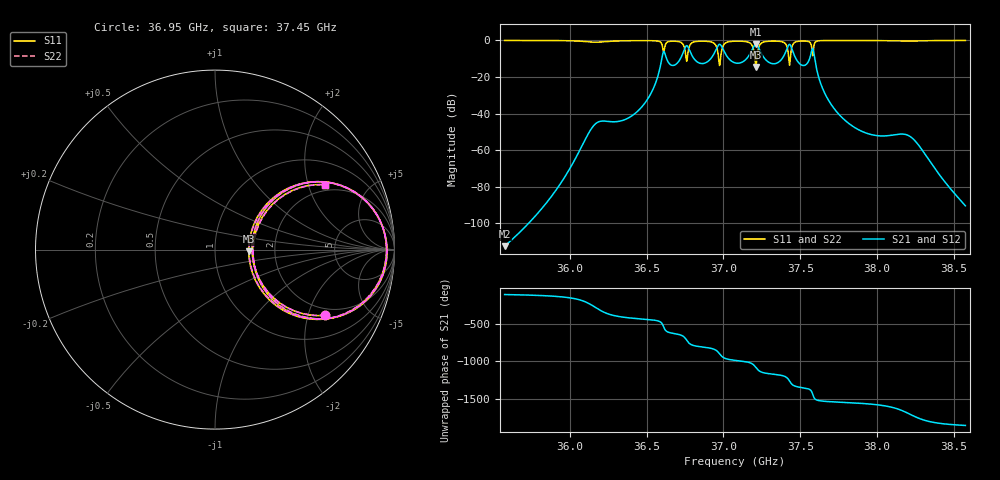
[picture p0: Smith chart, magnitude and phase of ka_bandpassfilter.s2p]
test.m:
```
% compare_s21_groupdelay_vs_lfm.m
% 读取 .s2p (MA 格式)，计算 S21 群时延
% 用简化 LFMCW 仿真（IF 级别）提取时延点并与群时延作图比较
% 适配你的 LM_MCMC.m 参数（f_start, f_end, T）

clear; close all; clc;

%% ========== 1. 参数（与 LM_MCMC.m 对齐） ==========
s2p_filename = 'ka_bandpassfilter.s2p'; % 假设当前目录有这份文件（根据你示例）
% LFMCW 参数（来自 LM_MCMC.m 片段）
f_start = 34.2e9;        % Hz
f_end   = 37.4e9;        % Hz
T_chirp = 50e-6;         % s (单次上行/下行扫频时长)
B = f_end - f_start;     % 带宽
K = B / T_chirp;         % 斜率 (Hz/s)

%% ========== 2. 读取 .s2p（MA 格式）并解析 S21 ==========
if ~exist(s2p_filename,'file')
    error('找不到 %s。请把你的 .s2p 放到当前目录或修改脚本中的文件名。', s2p_filename);
end

% 打开并解析
fid = fopen(s2p_filename,'r');
freq_GHz = [];
s21_mag = [];
s21_ang_deg = [];

while ~feof(fid)
    line = strtrim(fgetl(fid));
    if isempty(line)
        continue;
    end
    if startsWith(line,'!') || startsWith(line,'! ')
        % 注释行跳过
        continue;
    end
    if startsWith(line,'#')
        % header, 可解析单位、格式（本脚本假设 # GHz S MA ...）
        header = line;
        continue;
    end
    % 数据行：按你给的示例，每行 9 列（freq, S11_mag, S11_ang, S21_mag, S21_ang, S12_mag, S12_ang, S22_mag, S22_ang）
    cols = textscan(line, '%f');
    vals = cols{1};
    if numel(vals) >= 9
        freq_GHz(end+1,1) = vals(1);
        s21_mag(end+1,1)  = vals(4);
        s21_ang_deg(end+1,1)= vals(5);
    else
        % 如果空格分隔不规则，尝试更强的解析
        toks = strsplit(line);
        if numel(toks) >= 9
            freq_GHz(end+1,1) = str2double(toks{1});
            s21_mag(end+1,1)  = str2double(toks{4});
            s21_ang_deg(end+1,1)= str2double(toks{5});
        else
            % 忽略非数据行
            continue;
        end
    end
end
fclose(fid);

% 单位转换，频率转为 Hz
freq = freq_GHz * 1e9;

% S21 复数表示（MA: magnitude & angle in degrees）
S21 = s21_mag .* exp(1j * deg2rad(s21_ang_deg));

%% ========== 3. 计算相位、unwrap、群时延 ==========
phi = angle(S21);           % rad (在 -pi..pi)
phi_unwrap = unwrap(phi);   % 连续相位 (rad)

% 为了更稳健的数值求导，可对相位做小平滑（可选）
% phi_unwrap_smooth = sgolayfilt(phi_unwrap,3,11); % 仅在数据点足够多时使用
phi_unwrap_smooth = phi_unwrap;

% dphi/df (频率为 Hz)
dphi_df = gradient(phi_unwrap_smooth) ./ gradient(freq);

% 群时延： tau_g = - (1/(2*pi)) * dphi/df  (单位 s)
tau_g = - dphi_df ./ (2*pi);

% 可视化（先准备）
% 将群时延单位转为 ns 便于观察
tau_g_ns = tau_g * 1e9;

%% ========== 4. 简化 LFMCW 仿真（IF 级别）并提取时延 ==========
% 我们以 "点目标" 模拟：给定若干真实时延 tau_true，生成 IF tone(s)
% IF tone frequency f_b = K * tau_true
% 现实中若存在多个目标，IF 为多音或簇；我们用 FFT 找峰并估计 f_b

% 设定若干目标延迟（示例：取 LM_MCMC.m 中的 tau_air）
tau_true = [4e-9, 8e-9];  % s, 例子：4 ns、8 ns 的两个回波
amp_true = [1.0, 0.4];     % 回波幅度比例（可调）

% IF 采样参数（IF 信号仿真） - 只需满足对 beat 频率 f_b 的采样
% 最大可能的 f_b = K * max(tau_true). 选择 Fs_if 足够大以解析峰值
f_b_max = K * max(tau_true);
Fs_if = max(5 * f_b_max, 1e6);   % sps (至少 > 5*max beat), 最小 1 MHz
% 为了高分辨率 FFT，选择较长的采样时间等于一条 chirp
t = 0 : 1/Fs_if : T_chirp - 1/Fs_if;  % 单次上行 chirp 的采样时间轴

% 生成 IF 信号：IF(t) = sum_k a_k * exp(1j*2*pi*f_b_k * t)  (可以加噪声)
s_if = zeros(size(t));
for k = 1:length(tau_true)
    f_b_k = K * tau_true(k);
    s_if = s_if + amp_true(k) * exp(1j*2*pi*f_b_k .* t);
end

% 添加少量噪声（可选）
SNR_dB = 30;
noise_pow = 10^(-SNR_dB/10);
s_if = s_if + sqrt(noise_pow/2) * (randn(size(s_if)) + 1j*randn(size(s_if)));

% 为了提高 FFT 频率分辨率，做零填充
Nfft = 2^20; % 1M 点左右（根据内存可调整）
S_IF = fft(s_if, Nfft);
f_axis = (0:Nfft-1) * (Fs_if / Nfft); % Hz

% 只看正频率到 Nyquist
half = 1:floor(Nfft/2);
mag_spec = abs(S_IF(half));
f_axis_pos = f_axis(half);

% 找出若干个最大峰（对应不同目标）
% 简单 peak-picking：找局部极大并排序
[~, idx_sorted] = sort(mag_spec,'descend');
n_peaks = length(tau_true); % 我们希望找这么多个峰
peak_indices = [];
cnt = 1;
i_try = 1;
while (cnt <= n_peaks) && (i_try <= length(idx_sorted))
    idx = idx_sorted(i_try);
    % 防止重复近邻峰：要求与已有峰间隔至少 5 bins
    if all(abs(idx - peak_indices) > 5)
        peak_indices(end+1) = idx; %#ok<SAGROW>
        cnt = cnt + 1;
    end
    i_try = i_try + 1;
end

peak_freqs = f_axis_pos(peak_indices);    % Hz (这些是 IF 的峰值频率)
% 若要更精确 f_peak，可用相位插值或 centroid 局部拟合；这里用二次插值提高精度
peak_freqs_refined = zeros(size(peak_freqs));
for i = 1:length(peak_indices)
    k = peak_indices(i);
    if k>1 && k<length(mag_spec)
        % 3 点二次插值（parabolic interpolation）
        alpha = mag_spec(k-1);
        beta  = mag_spec(k);
        gamma = mag_spec(k+1);
        p = 0.5*(alpha - gamma)/(alpha - 2*beta + gamma); % offset in bins
        peak_freqs_refined(i) = f_axis_pos(k) + p * (Fs_if/Nfft);
    else
        peak_freqs_refined(i) = f_axis_pos(k);
    end
end

% 对应时延估计
tau_est = peak_freqs_refined / K;  % s

% 为了与 S21 频率轴对应，我们需要定义每个时延点对应的"探测频率" f_probe
% 一个简单且常用的做法：取接收时刻为扫频中点 t_center = T_chirp/2
% 此时发射瞬时频率约为 f_tx = f_start + K * (t_center - tau)
t_center = T_chirp/2;
f_probe_est = f_start + K * (t_center - tau_est);

% 将结果按频率排序以便绘图
[f_probe_est_sorted, si] = sort(f_probe_est);
tau_est_sorted = tau_est(si);

%% ========== 5. 将 S21 的群时延和 LFMCW 提取点绘成一张图 ==========
% 对 S21 群时延做平滑（可选）
tau_g_ns_smooth = movmedian(tau_g_ns, 11);

figure('Color','w','Position',[100 100 900 500]);
hold on;
plot(freq/1e9, tau_g_ns_smooth, 'r-', 'LineWidth', 1.8, 'DisplayName', 'Group delay from S21 (ns)');
scatter(f_probe_est_sorted/1e9, tau_est_sorted*1e9, 80, 'b', 'filled', 'DisplayName', 'LFMCW extracted delay (ns)');
xlabel('Frequency (GHz)');
ylabel('Delay (ns)');
title('Compare S21 group delay vs LFMCW extracted delay points');
legend('Location','best');
grid on;
xlim([min(freq)/1e9, max(freq)/1e9]);
hold off;

% 保存图像
saveas(gcf,'groupdelay_vs_lfm_compare.png');

%% ========== 6. 输出数值表格（并打印到 Command Window） ==========
T = table((freq/1e9), (tau_g_ns), 'VariableNames', {'Freq_GHz','GroupDelay_ns'});
fprintf('\n--- S21 group delay sample (first 10 rows) ---\n');
disp(T(1:min(10,height(T)),:));

fprintf('\n--- LFMCW extracted points ---\n');
T2 = table(f_probe_est_sorted'/1e9, tau_est_sorted'*1e9, 'VariableNames', {'Freq_GHz','Tau_ns'});
disp(T2);

% 将 LFMCW 点写入 csv 以便进一步处理/论文制图
writetable(T2, 'lfmcw_extracted_delays.csv');

fprintf('\n已保存图像: groupdelay_vs_lfm_compare.png\n已保存 LFMCW 点: lfmcw_extracted_delays.csv\n\n');

%% ========== 结束语 ==========
% 说明：
% - 若想用实际 LM_MCMC.m 中更精细的 RF/Drude/传递函数处理替换 IF 简化模型：
%   可把 LM_MCMC.m 中生成的 s_tx（在 RF 或基带）通过 S21(H) 插值乘法（频域），ifft 得到 s_rx，
%   再与 s_tx 混频得到 s_if，然后重复上面的 FFT 峰值提取流程。
% - 若需要我把这段“更精确的 RF->频域乘以 S21->ifft->混频”部分直接添加进来，请回复“加精确传输仿真”。
```
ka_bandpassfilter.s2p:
! TOUCHSTONE file generated by CST MICROWAVE STUDIO
! Date and time: Fri Jan 30 17:23:11 2026
! Project name: ka_bandpassfilter_Fest3D.cst
! Header version: 2018
! Port assignment regex: !\s*Touchstone port\s*([0-9]+)\s*=\s*(CST MWS port|CST DS port)\s*([0-9]+|Zmin|Zmax)\s*\(\"(.*)\"\)(\s*mode\s*([0-9]+))?.*
! Touchstone port assignment:
! Touchstone port 1 = CST MWS port 1 ("")
! Touchstone port 2 = CST MWS port 2 ("")
# GHz S MA R 50
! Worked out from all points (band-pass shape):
!   5001 points, 35.58 GHz to 38.58 GHz, reference 50 ohm
!   highest |S21| = -1.90 dB at 37.21 GHz (marker M1); lowest = -112.5 dB at 35.58 GHz (marker M2)
!   |S21| within 3 dB of the highest: 36.95226 GHz to 36.99738 GHz (45.12 MHz wide, 0.122 % of centre); 37.1874 GHz to 37.23385 GHz (46.45 MHz wide, 0.125 % of centre)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
!   lowest |S11| = -14.5 dB at 37.21 GHz (marker M3), VSWR 1.46, Z = 73.1 - j1.34 ohm
!   |S11| at or under -10 dB: 36.96866 GHz to 36.9805 GHz (11.84 MHz wide, 0.032 % of centre); 37.20463 GHz to 37.21696 GHz (12.33 MHz wide, 0.0331 % of centre); 37.42521 GHz to 37.43438 GHz (9.171 MHz wide, 0.0245 % of centre)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
!   |S22| runs from -14.4 to 0.0 dB; largest |S21 - S12| = 1e-11
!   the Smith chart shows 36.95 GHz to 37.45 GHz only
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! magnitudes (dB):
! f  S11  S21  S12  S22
! 35.58 GHz  0.0  -112.5  -112.5  0.0
! 35.93 GHz  -0.1  -79.8  -79.8  -0.1
! 36.16 GHz  -1.0  -45.8  -45.8  -1.0
! 36.48 GHz  -0.1  -35.3  -35.3  -0.1
! 36.61 GHz  -6.0  -6.0  -6.0  -6.1
! 37.08 GHz  -0.4  -12.3  -12.3  -0.4
! 37.21 GHz  -14.5  -1.9  -1.9  -14.4
! 37.58 GHz  -8.3  -4.2  -4.2  -8.2
! 37.79 GHz  0.0  -43.7  -43.7  0.0
! 38.21 GHz  -0.3  -52.1  -52.1  -0.4
! 38.58 GHz  0.0  -90.4  -90.4  0.0
